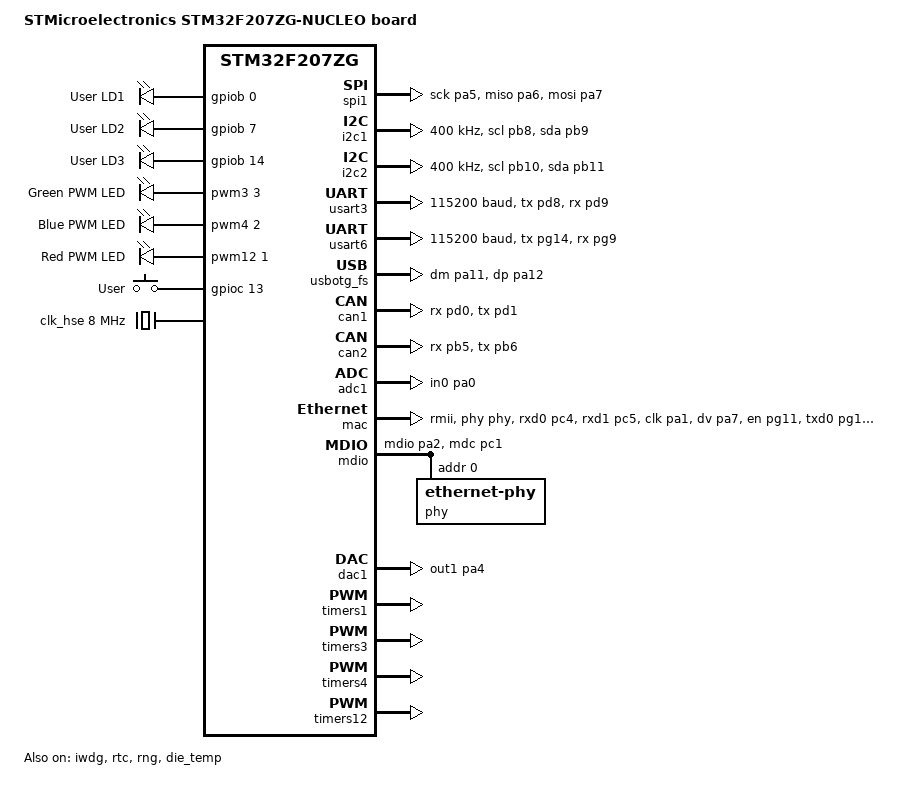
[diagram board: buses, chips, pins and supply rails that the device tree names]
/*
 * Copyright (c) 2018 qianfan Zhao
 *
 * SPDX-License-Identifier: Apache-2.0
 */

/dts-v1/;
#include <st/f2/stm32f207Xg.dtsi>
#include <st/f2/stm32f207z(c-e-f-g)tx-pinctrl.dtsi>
#include "arduino_r3_connector.dtsi"
#include <zephyr/dt-bindings/input/input-event-codes.h>

/ {
	model = "STMicroelectronics STM32F207ZG-NUCLEO board";
	compatible = "st,stm32f207zg-nucleo";

	chosen {
		zephyr,console = &usart3;
		zephyr,shell-uart = &usart3;
		zephyr,canbus = &can1;
		zephyr,sram = &sram0;
		zephyr,flash = &flash0;
	};

	leds: leds {
		compatible = "gpio-leds";

		green_led_1: led_1 {
			gpios = <&gpiob 0 GPIO_ACTIVE_HIGH>;
			label = "User LD1";
		};

		blue_led_1: led_2 {
			gpios = <&gpiob 7 GPIO_ACTIVE_HIGH>;
			label = "User LD2";
		};

		red_led_1: led_3 {
			gpios = <&gpiob 14 GPIO_ACTIVE_HIGH>;
			label = "User LD3";
		};
	};

	pwmleds {
		compatible = "pwm-leds";

		green_pwm_led: led_pwm_1 {
			pwms = <&pwm3 3 PWM_MSEC(20) PWM_POLARITY_NORMAL>;
			label = "Green PWM LED";
		};

		blue_pwm_led: led_pwm_2 {
			pwms = <&pwm4 2 PWM_MSEC(20) PWM_POLARITY_NORMAL>;
			label = "Blue PWM LED";
		};

		red_pwm_led: led_pwm_0 {
			pwms = <&pwm12 1 PWM_MSEC(20) PWM_POLARITY_NORMAL>;
			label = "Red PWM LED";
		};
	};

	gpio_keys {
		compatible = "gpio-keys";

		user_button: button {
			label = "User";
			gpios = <&gpioc 13 GPIO_ACTIVE_HIGH>;
			zephyr,code = <INPUT_KEY_0>;
		};
	};

	aliases {
		led0 = &green_led_1;
		led1 = &blue_led_1;
		led2 = &red_led_1;
		pwm-led0 = &green_pwm_led;
		pwm-led1 = &blue_pwm_led;
		pwm-led2 = &red_pwm_led;
		green-pwm-led = &green_pwm_led;
		blue-pwm-led = &blue_pwm_led;
		red-pwm-led = &red_pwm_led;
		sw0 = &user_button;
		watchdog0 = &iwdg;
		die-temp0 = &die_temp;
	};
};

&clk_lsi {
	status = "okay";
};

&clk_hse {
	hse-bypass;
	clock-frequency = <DT_FREQ_M(8)>; /* STLink 8MHz clock */
	status = "okay";
};

&pll {
	div-m = <8>;
	mul-n = <240>;
	div-p = <2>;
	div-q = <5>;
	clocks = <&clk_hse>;
	status = "okay";
};

&rcc {
	clocks = <&pll>;
	clock-frequency = <DT_FREQ_M(120)>;
	ahb-prescaler = <1>;
	apb1-prescaler = <4>;
	apb2-prescaler = <2>;
};

&spi1 {
	pinctrl-0 = <&spi1_sck_pa5 &spi1_miso_pa6 &spi1_mosi_pa7>;
	pinctrl-names = "default";
	cs-gpios = <&gpiod 14 (GPIO_ACTIVE_LOW | GPIO_PULL_UP)>;
	status = "okay";
};

&i2c1 {
	pinctrl-0 = <&i2c1_scl_pb8 &i2c1_sda_pb9>;
	pinctrl-names = "default";
	status = "okay";
	clock-frequency = <I2C_BITRATE_FAST>;
};

&i2c2 {
	pinctrl-0 = <&i2c2_scl_pb10 &i2c2_sda_pb11>;
	pinctrl-names = "default";
	status = "okay";
	clock-frequency = <I2C_BITRATE_FAST>;
};

&usart3 {
	pinctrl-0 = <&usart3_tx_pd8 &usart3_rx_pd9>;
	pinctrl-names = "default";
	current-speed = <115200>;
	status = "okay";
};

&usart6 {
	pinctrl-0 = <&usart6_tx_pg14 &usart6_rx_pg9>;
	pinctrl-names = "default";
	current-speed = <115200>;
	status = "okay";
};

zephyr_udc0: &usbotg_fs {
	pinctrl-0 = <&usb_otg_fs_dm_pa11 &usb_otg_fs_dp_pa12>;
	pinctrl-names = "default";
	status = "okay";
};

&can1 {
	pinctrl-0 = <&can1_rx_pd0 &can1_tx_pd1>;
	pinctrl-names = "default";
	status = "okay";
};

&can2 {
	pinctrl-0 = <&can2_rx_pb5 &can2_tx_pb6>;
	pinctrl-names = "default";
	status = "okay";
};

&iwdg {
	status = "okay";
};

&rtc {
	clocks = <&rcc STM32_CLOCK(APB1, 28)>,
		 <&rcc STM32_SRC_LSI RTC_SEL(2)>;
	status = "okay";
};

&rng {
	status = "okay";
};

&adc1 {
	pinctrl-0 = <&adc1_in0_pa0>;
	pinctrl-names = "default";
	st,adc-clock-source = "SYNC";
	st,adc-prescaler = <2>;
	status = "okay";
};

&die_temp {
	status = "okay";
};

&dma2 {
	status = "okay";
};

&mac {
	status = "okay";
	pinctrl-0 = <&eth_rxd0_pc4
		     &eth_rxd1_pc5
		     &eth_ref_clk_pa1
		     &eth_crs_dv_pa7
		     &eth_tx_en_pg11
		     &eth_txd0_pg13
		     &eth_txd1_pb13>;
	pinctrl-names = "default";
	phy-connection-type = "rmii";
	phy-handle = <&phy>;
};

&mdio {
	status = "okay";
	pinctrl-0 = <&eth_mdio_pa2 &eth_mdc_pc1>;
	pinctrl-names = "default";

	phy: ethernet-phy@0 {
		compatible = "ethernet-phy";
		reg = <0x00>;
	};
};

&flash0 {
	partitions {
		compatible = "fixed-partitions";
		#address-cells = <1>;
		#size-cells = <1>;

		boot_partition: partition@0 {
			label = "mcuboot";
			reg = <0x0 DT_SIZE_K(32)>;
			read-only;
		};

		/*
		 * nvs subsystem requires 2 sectors with a max total of 32K
		 * On F2 series, the only option is to use the following
		 * partition, which is compatible with mcuboot usage.
		 * Keep it commented in order it is not used by CI.
		 *
		 * storage_partition: partition@8000 {
		 *	label = "storage";
		 *	reg = <0x8000 DT_SIZE_K(32)>;
		 * };
		 */

		slot0_partition: partition@20000 {
			label = "image-0";
			reg = <0x20000 DT_SIZE_K(448)>;
		};

		slot1_partition: partition@90000 {
			label = "image-1";
			reg = <0x90000 DT_SIZE_K(448)>;
		};
	};
};

&dac1 {
	status = "okay";
	pinctrl-0 = <&dac_out1_pa4>;
	pinctrl-names = "default";
};

&backup_sram {
	status = "okay";
};

&timers1 {
	status = "okay";

	pwm1: pwm {
		status = "okay";
		pinctrl-0 = <&tim1_ch1_pe9>;
		pinctrl-names = "default";
	};
};

&timers3 {
	status = "okay";
	st,prescaler = <10000>;

	pwm3: pwm {
		status = "okay";
		pinctrl-0 = <&tim3_ch3_pb0>;
		pinctrl-names = "default";
	};
};

&timers4 {
	status = "okay";
	st,prescaler = <10000>;

	pwm4: pwm {
		status = "okay";
		pinctrl-0 = <&tim4_ch2_pb7>;
		pinctrl-names = "default";
	};
};

&timers12 {
	status = "okay";
	st,prescaler = <10000>;

	pwm12: pwm {
		status = "okay";
		pinctrl-0 = <&tim12_ch1_pb14>;
		pinctrl-names = "default";
	};
};
